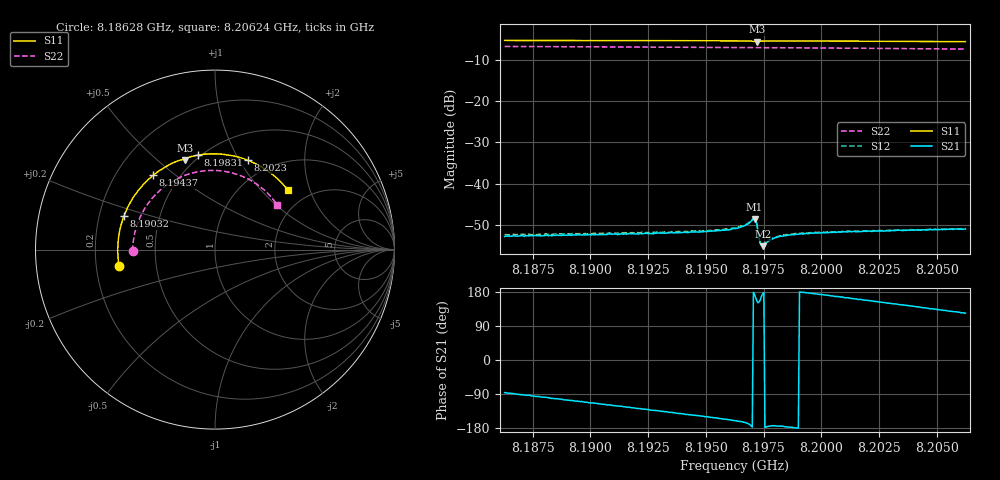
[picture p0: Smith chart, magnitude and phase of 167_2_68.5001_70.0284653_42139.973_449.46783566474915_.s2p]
#  HZ  S  RI  R  50.00
! Rohde & Schwarz Vector Network Analyzer
! Rohde-Schwarz,ZNB20-2Port,1311601062101988,3.16
! Created: UTC 3/20/2024, 4:56:02 PM
! freq[Hz]  re:S11  im:S11  re:S21  im:S21  re:S12  im:S12  re:S22  im:S22
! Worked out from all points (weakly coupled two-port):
!   401 points, 8.18628 GHz to 8.20624 GHz, reference 50 ohm
!   highest |S21| = -48.56 dB at 8.19711 GHz (marker M1); lowest = -55.1 dB at 8.19746 GHz (marker M2)
!   lowest |S11| = -5.6 dB at 8.19721 GHz (marker M3), VSWR 3.20, Z = 22.6 + j30.9 ohm
!   |S11| at or under -10 dB: nowhere
!   |S22| runs from -7.4 to -6.8 dB; largest |S21 - S12| = 0.00019
!   S11 on the Smith chart (normalised r, x): 8.18628 GHz: 0.30, -0.08; 8.19032 GHz: 0.31, +0.16; 8.19437 GHz: 0.36, +0.42; 8.19831 GHz: 0.48, +0.71; 8.2023 GHz: 0.78, +1.09; 8.20624 GHz: 1.56, +1.43
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8.186282e9  -0.5345 -0.0921  0.000158 -0.00228  0.000102 -0.00238  -0.4586 -0.00832
8.187979e9  -0.5412 0.0262  -0.000327 -0.00232  -0.000384 -0.0024  -0.4489 0.085
8.189625e9  -0.5228 0.1399  -0.000792 -0.00225  -0.000885 -0.00231  -0.4214 0.1719
8.190324e9  -0.5077 0.1864  -0.00104 -0.00217  -0.00115 -0.00223  -0.4044 0.2066
8.192969e9  -0.414 0.3459  -0.00177 -0.0018  -0.00187 -0.00176  -0.315 0.3224
8.194367e9  -0.3438 0.4143  -0.00213 -0.00149  -0.00224 -0.00145  -0.254 0.3703
8.195265e9  -0.2921 0.4515  -0.00233 -0.00127  -0.00244 -0.00118  -0.2104 0.3951
8.196263e9  -0.2295 0.485  -0.00269 -0.000967  -0.00278 -0.000914  -0.1588 0.4167
8.196712e9  -0.1987 0.4972  -0.00302 -0.000786  -0.00311 -0.000651  -0.1348 0.4243
8.197012e9  -0.1755 0.5017  -0.0036 -0.000193  -0.0037 -7.32e-05  -0.1185 0.4286
8.197111e9  -0.1681 0.4997  -0.0037 0.000503  -0.00372 0.000691  -0.1131 0.4299
8.197161e9  -0.1663 0.498  -0.00343 0.000994  -0.00349 0.00117  -0.1104 0.4303
8.197211e9  -0.1662 0.4969  -0.00293 0.00132  -0.00291 0.00144  -0.1078 0.4309
8.197361e9  -0.1634 0.5043  -0.00174 0.000662  -0.00177 0.000713  -0.0997 0.4328
8.197411e9  -0.1603 0.507  -0.00174 0.000367  -0.00174 0.000438  -0.0968 0.4334
8.197461e9  -0.1569 0.5092  -0.00174 0.000177  -0.00176 0.000253  -0.0942 0.4338
8.19791e9  -0.124 0.5204  -0.00215 -0.000233  -0.0022 -0.000155  -0.0691 0.4378
8.198309e9  -0.0958 0.5263  -0.00231 -0.000209  -0.00237 -0.000106  -0.0466 0.44
8.199607e9  -0.00361 0.5337  -0.00251 0.000188  -0.00253 0.000302  0.0267 0.4393
8.202302e9  0.1826 0.4979  -0.00241 0.00113  -0.0024 0.00122  0.1739 0.3988
8.202951e9  0.2246 0.4795  -0.00232 0.00134  -0.00232 0.00147  0.2068 0.3812
8.206244e9  0.4046 0.3334  -0.00156 0.00235  -0.00151 0.00245  0.3451 0.251
